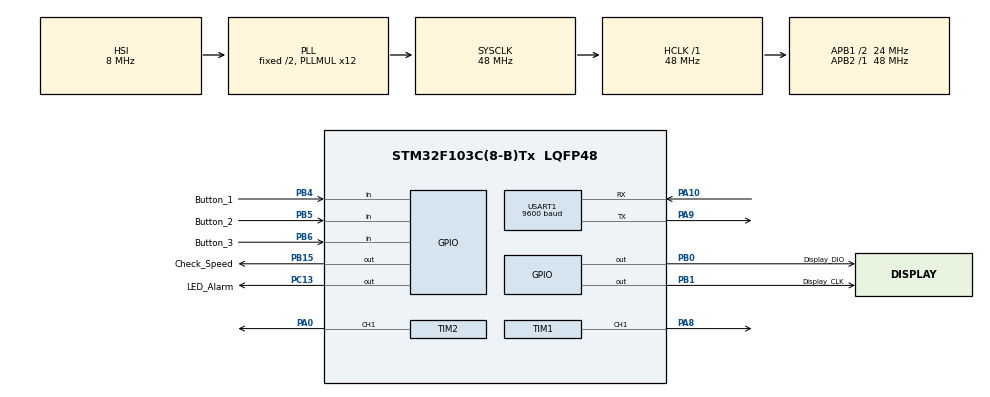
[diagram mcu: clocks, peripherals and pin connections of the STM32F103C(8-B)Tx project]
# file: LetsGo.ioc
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Dma.Request0=TIM1_CH1
Dma.TIM1_CH1.0.Direction=DMA_MEMORY_TO_PERIPH
Dma.TIM1_CH1.0.Instance=DMA1_Channel2
Dma.TIM1_CH1.0.MemDataAlignment=DMA_MDATAALIGN_BYTE
Dma.TIM1_CH1.0.MemInc=DMA_MINC_ENABLE
Dma.TIM1_CH1.0.Mode=DMA_CIRCULAR
Dma.TIM1_CH1.0.PeriphDataAlignment=DMA_PDATAALIGN_WORD
Dma.TIM1_CH1.0.PeriphInc=DMA_PINC_DISABLE
Dma.TIM1_CH1.0.Priority=DMA_PRIORITY_VERY_HIGH
Mcu.Family=STM32F1
Mcu.Name=STM32F103C(8-B)Tx
Mcu.Package=LQFP48
NVIC.DMA1_Channel2_IRQn=true\:0\:0\:false\:false\:true\:false\:true
NVIC.PriorityGroup=NVIC_PRIORITYGROUP_4
NVIC.USART1_IRQn=true\:0\:0\:false\:false\:true\:true\:true
PA0-WKUP.Signal=S_TIM2_CH1_ETR
PA10.Mode=Asynchronous
PA10.Signal=USART1_RX
PA13.Mode=Serial_Wire
PA13.Signal=SYS_JTMS-SWDIO
PA14.Mode=Serial_Wire
PA14.Signal=SYS_JTCK-SWCLK
PA8.Signal=S_TIM1_CH1
PA9.Mode=Asynchronous
PA9.Signal=USART1_TX
PB0.GPIO_Label=Display_DIO
PB0.Signal=GPIO_Output
PB1.GPIO_Label=Display_CLK
PB1.Signal=GPIO_Output
PB15.GPIO_Label=Check_Speed
PB15.Signal=GPIO_Output
PB4.GPIO_Label=Button_1
PB4.Signal=GPIO_Input
PB5.GPIO_Label=Button_2
PB5.Signal=GPIO_Input
PB6.GPIO_Label=Button_3
PB6.Signal=GPIO_Input
PC13-TAMPER-RTC.GPIO_Label=LED_Alarm
PC13-TAMPER-RTC.Signal=GPIO_Output
PC14-OSC32_IN.Mode=LSE-External-Oscillator
PC14-OSC32_IN.Signal=RCC_OSC32_IN
PC15-OSC32_OUT.Mode=LSE-External-Oscillator
PC15-OSC32_OUT.Signal=RCC_OSC32_OUT
ProjectManager.HeapSize=0x200
ProjectManager.StackSize=0x400
ProjectManager.TargetToolchain=STM32CubeIDE
RCC.AHBFreq_Value=48000000
RCC.APB1CLKDivider=RCC_HCLK_DIV2
RCC.APB1Freq_Value=24000000
RCC.APB1TimFreq_Value=48000000
RCC.APB2Freq_Value=48000000
RCC.APB2TimFreq_Value=48000000
RCC.HCLKFreq_Value=48000000
RCC.PLLMUL=RCC_PLL_MUL12
RCC.RTCClockSelection=RCC_RTCCLKSOURCE_LSE
RCC.SYSCLKFreq_VALUE=48000000
RCC.SYSCLKSource=RCC_SYSCLKSOURCE_PLLCLK
RCC.USBFreq_Value=48000000
SH.S_TIM1_CH1.0=TIM1_CH1,PWM Generation1 CH1
SH.S_TIM2_CH1_ETR.0=TIM2_CH1,PWM Generation1 CH1
TIM1.Channel-PWM\ Generation1\ CH1=TIM_CHANNEL_1
TIM1.Period=60-1
TIM2.Channel-PWM\ Generation1\ CH1=TIM_CHANNEL_1
TIM2.Period=6000
TIM2.Pulse-PWM\ Generation1\ CH1=4000
TIM4.Prescaler=71
USART1.BaudRate=9600
USART1.VirtualMode=VM_ASYNC
VP_CRC_VS_CRC.Mode=CRC_Activate
VP_RTC_VS_RTC_Activate.Mode=RTC_Enabled
VP_TIM1_VS_ClockSourceINT.Mode=Internal
VP_TIM4_VS_ClockSourceINT.Mode=Internal
board=custom

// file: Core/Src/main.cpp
/* USER CODE BEGIN Header */
/**
 ******************************************************************************
 * @file           : main.cpp
 * @brief          : Main program body
 ******************************************************************************
 * @attention
 *
 * Copyright (c) 2022 STMicroelectronics.
 * All rights reserved.
 *
 * This software is licensed under terms that can be found in the LICENSE file
 * in the root directory of this software component.
 * If no LICENSE file comes with this software, it is provided AS-IS.
 *
 ******************************************************************************
 */
/* USER CODE END Header */
#include "main.h"

/* USER CODE BEGIN Includes */
#include "TM1637Display.h"
#include "DFPlayer.h"
#include "MexButton.h"
#include "FlashPROM.h"
#include "sk6812.h"
/* USER CODE END Includes */

/* USER CODE BEGIN PD */
#define NUMBER_ALARMS 9
#define USER_INACTIVITY_TIME 10000
#define LAUNCH_TIME 4000
#define BLINK_TIMER 500
/* USER CODE END PD */

/* USER CODE BEGIN PM */
RTC_TimeTypeDef alarms[NUMBER_ALARMS];
uint32_t res_addr;
/* USER CODE END PM */

CRC_HandleTypeDef hcrc;

RTC_HandleTypeDef hrtc;

TIM_HandleTypeDef htim1;
TIM_HandleTypeDef htim2;
TIM_HandleTypeDef htim4;
DMA_HandleTypeDef hdma_tim1_ch1;

UART_HandleTypeDef huart1;

void SystemClock_Config(void);
static void MX_GPIO_Init(void);
static void MX_RTC_Init(void);
static void MX_TIM4_Init(void);
static void MX_USART1_UART_Init(void);
static void MX_TIM2_Init(void);
static void MX_DMA_Init(void);
static void MX_TIM1_Init(void);
static void MX_CRC_Init(void);
/* USER CODE BEGIN PFP */
RTC_TimeTypeDef remainingTime(RTC_TimeTypeDef *a, RTC_TimeTypeDef *b);
enum Mode : uint8_t {
	NORMAL, SET_CLOCK, SET_ALARM, CHOOSING_ALARM
};
/* USER CODE END PFP */

int main(void) {

	/* MCU Configuration--------------------------------------------------------*/

	/* Reset of all peripherals, Initializes the Flash interface and the Systick. */
	HAL_Init();

	/* Configure the system clock */
	SystemClock_Config();

	/* Initialize all configured peripherals */
	MX_GPIO_Init();
	MX_RTC_Init();
	MX_TIM4_Init();
	MX_USART1_UART_Init();
	MX_TIM2_Init();
	MX_DMA_Init();
	MX_TIM1_Init();
	MX_CRC_Init();

	/* Infinite loop */
	/* USER CODE BEGIN WHILE */
	myBuf_t wdata[BUFFSIZE];
	for (uint8_t i = 0; i < BUFFSIZE; i++) {
		wdata[i] = 0;
	}
	res_addr = flash_search_adress(STARTADDR, BUFFSIZE * DATAWIDTH);
	myBuf_t rdata[BUFFSIZE];
	read_last_data_in_flash(rdata);
	for (uint8_t i = 0; i < BUFFSIZE - (BUFFSIZE - NUMBER_ALARMS); i++) {
		alarms[i].Hours = rdata[i] >> 16;
		alarms[i].Minutes = rdata[i] >> 8;
		if (alarms[i].Seconds >= 60) {
			alarms[i].Seconds = 0;
		} else {
			alarms[i].Seconds = rdata[i];
		}
	}
	/*
	 * uint8_t mode = 0;
	 * 1 - setting up an alarm clock
	 * 2 - setting up the clock
	 * 3 - setting an alarm
	 */
	uint32_t setTimer = HAL_GetTick();
	uint32_t scrollTimer = HAL_GetTick();
	uint8_t sets, setsM, setsH, setsDelay, setingAlarm, ready, numberNowAlarm =
			(uint8_t) rdata[BUFFSIZE - 2];
	bool on, blink = 0, plaing = 0, excited = (uint8_t) (rdata[BUFFSIZE - 2]
			>> 16);
	Mode mode = NORMAL;
	//bool alarmed = (uint8_t) (rdata[BUFFSIZE - 2] >> 8);
	bool alarmed = false;
	bool changes = false;
	uint32_t timer = HAL_GetTick();
	RTC_TimeTypeDef nowTime = { 0 };
	RTC_TimeTypeDef nowAlarm = alarms[numberNowAlarm], timeToAlarm;
	/*
	 * setTimer - timer for blinking the display when setting up
	 * scrollTimer - timer for rewinding digits during installation
	 * sets - variable submenu time settings, etc.
	 * setsM, setsH - variables, for setting hours and minutes
	 * setingAlarm - variable for selecting the alarm number
	 * on - flag for blinking the display
	 * excited - flag for turning on the alarm
	 * alarmed - flag, triggered while the alarm is running
	 * timer - timer variable for exiting the settings when the user is idle
	 * nowTime - time structure for getting the time from the RTC and output to the display
	 * nowAlarm - time structure for the alarm clock currently set
	 * timeToAlarm - remaining time until the alarm clock
	 */
	TM1637_Display display(Display_DIO_GPIO_Port,
	Display_DIO_Pin,
	Display_CLK_GPIO_Port, Display_CLK_Pin, &htim4);
	DFPlayer player(&huart1);
	MexButton BT_Plus(Button_3_GPIO_Port, Button_3_Pin);
	MexButton BT_Set(Button_2_GPIO_Port, Button_2_Pin);
	MexButton BT_Minus(Button_1_GPIO_Port, Button_1_Pin);
	BT_Set.setTimeout(1200);
	BT_Plus.setDebouns(60);
	BT_Minus.setDebouns(60);
	BT_Set.setDebouns(60);
	display.clear();
	display.brightness(2);
	player.Volume(0);
	player.status = PAUSE;
	HAL_GPIO_WritePin(LED_Alarm_GPIO_Port, LED_Alarm_Pin, GPIO_PIN_RESET);
	led_set_all_RGB((RGB_t ) { 0, 30, 5 });
	led_render();
	HAL_Delay(400);
	led_set_all_RGB((RGB_t ) { 0, 0, 0 });
	led_render();
	while (true) {

		if (player.Ready()) {
			player.SetStatus();
			if (player.GetNowStatus() == PLAYING) {
				plaing = true;
			}
			if (player.GetNowStatus() == PAUSE) {
				plaing = false;
			}
		}

		if (HAL_GetTick() >= LAUNCH_TIME) {
			BT_Plus.tick();
			BT_Set.tick();
			BT_Minus.tick();
		} else {
			BT_Plus.resetStates();
			BT_Set.resetStates();
			BT_Minus.resetStates();
		}
		if (nowTime.Seconds % 15 >= 14) {
			timeToAlarm = remainingTime(&nowAlarm, &nowTime);
		}

		if (timeToAlarm.Hours == 0 && timeToAlarm.Minutes <= nowAlarm.Seconds
				&& excited) {
			ready = 16
					- ((uint16_t) (timeToAlarm.Minutes * 60 - nowTime.Seconds)
							* 4) / (uint16_t) (nowAlarm.Seconds * 15);
			if (!plaing) {
				player.status = PLAYING;
			} else {
				player.volumeSet = ready + 10;
				player.status = VOLUME;
			}
			for (int i = 0; i < NUM_PIXELS / 2; i++) {
				HSV_t a;
				a.h = i / 5;
				a.s = 15;
				a.v = ready;
				if (i < ready * 2 && ready / 3 != 0) {
					led_set_RGB(i, hsv2rgb(a));
					led_set_RGB(NUM_PIXELS - i - 1, hsv2rgb(a));
				} else {
					led_set_RGB(i, (RGB_t ) { 3, 0, 2 });
					led_set_RGB(NUM_PIXELS - i - 1, (RGB_t ) { 3, 0, 2 });
				}
			}
			led_render();
		}

		HAL_RTC_GetTime(&hrtc, &nowTime, RTC_FORMAT_BIN);
		display.displayClock(nowTime.Hours, nowTime.Minutes);
		if (nowTime.Seconds % 2) {
			display.point(1);
		} else {
			display.point(0);
		}

		if (BT_Set.isHolded()) {
			mode = SET_CLOCK;
			setsM = nowTime.Minutes;
			setsH = nowTime.Hours;
			sets = 0;
			on = true;
			timer = HAL_GetTick();
		}
		if ((BT_Plus.isHolded() || BT_Minus.isHolded()) && !alarmed) {
			mode = SET_ALARM;
			setingAlarm = 1;
			timer = HAL_GetTick();
			setsH = 0;
			setsM = 0;
			setsDelay = 0;
		}
		if (BT_Set.isClick()) {
			mode = CHOOSING_ALARM;
			setingAlarm = 1;
			timer = HAL_GetTick();
		}
		if (excited && nowTime.Hours == nowAlarm.Hours
				&& nowTime.Minutes == nowAlarm.Minutes && !alarmed) {
			alarmed = true;
			excited = false;
			player.status = PAUSE;
			player.volumeSet = 0;
		}
		if (alarmed
				&& (BT_Set.isClick() || BT_Plus.isClick() || BT_Minus.isClick())) {
			alarmed = false;
			excited = false;
			led_set_all_RGB((RGB_t ) { 0, 0, 0 });
			led_render();
			BT_Plus.resetStates();
			BT_Set.resetStates();
			BT_Minus.resetStates();
			changes = true;
		}

		if (alarmed && HAL_GetTick() - timer >= BLINK_TIMER) {
			if (blink) {
				led_set_all_RGB((RGB_t ) { 255, 255, 255 });
				blink = 0;
			} else {
				led_set_all_RGB((RGB_t ) { 0, 0, 0 });
				blink = 1;
			}
			timer = HAL_GetTick();
			led_render();
		}

		if (changes) {
			changes = false;
			for (uint8_t i = 0; i < BUFFSIZE - (BUFFSIZE - NUMBER_ALARMS);
					i++) {
				wdata[i] = (alarms[i].Hours << 16) + (alarms[i].Minutes << 8)
						+ alarms[i].Seconds;
			}
			wdata[BUFFSIZE - 2] = 0;
			if (excited) {
				wdata[BUFFSIZE - 2] += (1 << 16);
			}
			if (alarmed) {
				wdata[BUFFSIZE - 2] += (1 << 8);
			}
			wdata[BUFFSIZE - 2] += numberNowAlarm;
			write_to_flash(wdata);
		}

		while (mode == CHOOSING_ALARM) {
			BT_Plus.tick();
			BT_Set.tick();
			BT_Minus.tick();
			display.point(0);
			display.displayInt(setingAlarm);
			if (BT_Plus.isClick()) {
				timer = HAL_GetTick();
				if (setingAlarm >= NUMBER_ALARMS)
					setingAlarm = 0;
				else
					setingAlarm++;
			}
			if (BT_Minus.isClick()) {
				timer = HAL_GetTick();
				if (setingAlarm <= 0)
					setingAlarm = NUMBER_ALARMS;
				else
					setingAlarm--;
			}
			if (BT_Set.isClick()) {
				if (0 == setingAlarm) {
					excited = false;
					alarmed = false;
					changes = true;
					player.Volume(0);
					player.Pause();
					led_set_all_RGB((RGB_t ) { 0, 0, 0 });
					led_render();
				} else {
					nowAlarm = alarms[setingAlarm - 1];
					numberNowAlarm = setingAlarm - 1;
					excited = true;
					changes = true;
				}
				mode = NORMAL;
				BT_Plus.resetStates();
				BT_Set.resetStates();
				BT_Minus.resetStates();
			}
			if (HAL_GetTick() - timer >= USER_INACTIVITY_TIME) {
				mode = NORMAL;
			}
		}

		while (mode == SET_ALARM) {
			BT_Plus.tick();
			BT_Set.tick();
			BT_Minus.tick();
			if (BT_Plus.isClick()) {
				timer = HAL_GetTick();
				if (setingAlarm >= NUMBER_ALARMS)
					setingAlarm = 1;
				else
					setingAlarm++;
			}
			if (BT_Minus.isClick()) {
				timer = HAL_GetTick();
				if (setingAlarm <= 1)
					setingAlarm = NUMBER_ALARMS;
				else
					setingAlarm--;
			}
			display.point(0);
			display.displayInt(setingAlarm);
			if (BT_Set.isClick()) {
				sets = 0;
				setsH = alarms[setingAlarm - 1].Hours;
				setsM = alarms[setingAlarm - 1].Minutes;
				timer = HAL_GetTick();
				while (true) {
					BT_Plus.tick();
					BT_Set.tick();
					BT_Minus.tick();
					display.point(1);
					if (!on && HAL_GetTick() - setTimer >= 100) {
						on = 1;
						setTimer = HAL_GetTick();
					}
					if (on && HAL_GetTick() - setTimer >= 500) {
						on = 0;
						setTimer = HAL_GetTick();
					}
					if (on) {
						display.display(setsH / 10, setsH % 10, setsM / 10,
								setsM % 10);
					} else {
						if (sets == 0) {
							display.display(10, 10, setsM / 10, setsM % 10);
						}
						if (sets == 1) {
							display.display(setsH / 10, setsH % 10, 10, 10);
						}
					}
					if (sets == 0) {
						if (BT_Plus.isClick()) {
							timer = HAL_GetTick();
							if (setsH >= 23)
								setsH = 0;
							else
								setsH++;
						}
						if (BT_Plus.isHold()
								&& HAL_GetTick() - scrollTimer >= 50) {
							timer = HAL_GetTick();
							scrollTimer = HAL_GetTick();
							if (setsH >= 23)
								setsH = 0;
							else
								setsH++;
						}
						if (BT_Minus.isClick()) {
							timer = HAL_GetTick();
							if (setsH <= 0)
								setsH = 23;
							else
								setsH--;
						}
						if (BT_Minus.isHold()
								&& HAL_GetTick() - scrollTimer >= 50) {
							timer = HAL_GetTick();
							scrollTimer = HAL_GetTick();
							if (setsH <= 0)
								setsH = 23;
							else
								setsH--;
						}
					}
					if (sets == 1) {
						if (BT_Plus.isClick()) {
							timer = HAL_GetTick();
							if (setsM >= 59)
								setsM = 0;
							else
								setsM++;
						}
						if (BT_Plus.isHold()
								&& HAL_GetTick() - scrollTimer >= 100) {
							timer = HAL_GetTick();
							scrollTimer = HAL_GetTick();
							if (setsM >= 59)
								setsM = 0;
							else
								setsM++;
						}
						if (BT_Minus.isClick()) {
							timer = HAL_GetTick();
							if (setsM <= 0)
								setsM = 59;
							else
								setsM--;
						}
						if (BT_Minus.isHold()
								&& HAL_GetTick() - scrollTimer >= 100) {
							timer = HAL_GetTick();
							scrollTimer = HAL_GetTick();
							if (setsM <= 0)
								setsM = 59;
							else
								setsM--;
						}
					}
					if (sets == 2) {
						setsDelay = alarms[setingAlarm - 1].Seconds;
						while (true) {
							BT_Plus.tick();
							BT_Set.tick();
							BT_Minus.tick();
							display.point(0);
							if (BT_Plus.isClick()) {
								timer = HAL_GetTick();
								if (setsDelay >= 59) {
									setsDelay = 0;
								} else {
									setsDelay++;
								}
							}
							if (BT_Plus.isHold()
									&& HAL_GetTick() - scrollTimer >= 50) {
								timer = HAL_GetTick();
								scrollTimer = HAL_GetTick();
								if (setsDelay >= 59) {
									setsDelay = 0;
								} else {
									setsDelay++;
								}
							}
							if (BT_Minus.isClick()) {
								timer = HAL_GetTick();
								if (setsDelay <= 0) {
									setsDelay = 59;
								} else {
									setsDelay--;
								}
							}
							if (BT_Minus.isHold()
									&& HAL_GetTick() - scrollTimer >= 50) {
								timer = HAL_GetTick();
								scrollTimer = HAL_GetTick();
								if (setsDelay <= 0) {
									setsDelay = 59;
								} else {
									setsDelay--;
								}
							}
							if (BT_Set.isClick()) {
								timer = HAL_GetTick();
								if (alarms[setingAlarm - 1].Seconds
										!= setsDelay) {
									alarms[setingAlarm - 1].Seconds = setsDelay;
									changes = true;
								}
								sets++;
								break;
							}
							if (HAL_GetTick() - timer >= USER_INACTIVITY_TIME) {
								break;
							}
							display.displayInt(setsDelay);

						}
					}
					if (BT_Set.isHold() && sets < 2) {
						setsM = nowTime.Minutes;
						setsH = nowTime.Hours;
					}
					if (BT_Set.isClick()) {
						timer = HAL_GetTick();
						sets++;
					}

					if (sets >= 3) {
						if (alarms[setingAlarm - 1].Hours != setsH
								|| alarms[setingAlarm - 1].Minutes != setsM) {
							alarms[setingAlarm - 1].Hours = setsH;
							alarms[setingAlarm - 1].Minutes = setsM;
							if (setingAlarm - 1 == numberNowAlarm) {
								nowAlarm = alarms[setingAlarm - 1];
							}
							changes = true;
						}
						BT_Plus.resetStates();
						BT_Set.resetStates();
						BT_Minus.resetStates();
						mode = NORMAL;
						break;
					}
					if (HAL_GetTick() - timer >= USER_INACTIVITY_TIME) {
						mode = NORMAL;
						break;
					}

				}
			}
		}

		while (mode == SET_CLOCK) {
			BT_Plus.tick();
			BT_Set.tick();
			BT_Minus.tick();
			display.point(1);
			if (!on && HAL_GetTick() - setTimer >= 100) {
				on = 1;
				setTimer = HAL_GetTick();
			}
			if (on && HAL_GetTick() - setTimer >= 500) {
				on = 0;
				setTimer = HAL_GetTick();
			}
			if (on) {
				display.display(setsH / 10, setsH % 10, setsM / 10, setsM % 10);
			} else {
				if (sets == 0) {
					display.display(10, 10, setsM / 10, setsM % 10);
				}
				if (sets == 1) {
					display.display(setsH / 10, setsH % 10, 10, 10);
				}
			}
			if (sets == 0) {
				if (BT_Plus.isClick()) {
					timer = HAL_GetTick();
					if (setsH >= 23)
						setsH = 0;
					else
						setsH++;
				}
				if (BT_Plus.isHold() && HAL_GetTick() - scrollTimer >= 50) {
					timer = HAL_GetTick();
					scrollTimer = HAL_GetTick();
					if (setsH >= 23)
						setsH = 0;
					else
						setsH++;
				}
				if (BT_Minus.isClick()) {
					timer = HAL_GetTick();
					if (setsH <= 0)
						setsH = 23;
					else
						setsH--;
				}
				if (BT_Minus.isHold() && HAL_GetTick() - scrollTimer >= 50) {
					timer = HAL_GetTick();
					scrollTimer = HAL_GetTick();
					if (setsH <= 0)
						setsH = 23;
					else
						setsH--;
				}
			}
			if (sets == 1) {
				if (BT_Plus.isClick()) {
					timer = HAL_GetTick();
					if (setsM >= 59)
						setsM = 0;
					else
						setsM++;
				}
				if (BT_Plus.isHold() && HAL_GetTick() - scrollTimer >= 100) {
					timer = HAL_GetTick();
					scrollTimer = HAL_GetTick();
					if (setsM >= 59)
						setsM = 0;
					else
						setsM++;
				}
				if (BT_Minus.isClick()) {
					timer = HAL_GetTick();
					if (setsM <= 0)
						setsM = 59;
					else
						setsM--;
				}
				if (BT_Minus.isHold() && HAL_GetTick() - scrollTimer >= 100) {
					timer = HAL_GetTick();
					scrollTimer = HAL_GetTick();
					if (setsM <= 0)
						setsM = 59;
					else
						setsM--;
				}
			}
			if (BT_Set.isClick()) {
				timer = HAL_GetTick();
				sets++;
			}
			if (sets >= 2) {
				RTC_TimeTypeDef setingTime = { 0 };
				setingTime.Hours = setsH;
				setingTime.Minutes = setsM;
				setingTime.Seconds = 0;
				HAL_RTC_SetTime(&hrtc, &setingTime, RTC_FORMAT_BIN);
				BT_Plus.resetStates();
				BT_Set.resetStates();
				BT_Minus.resetStates();
				mode = NORMAL;
			}
			if (HAL_GetTick() - timer >= USER_INACTIVITY_TIME) {
				mode = NORMAL;
				break;
			}
		}

		/* USER CODE END WHILE */

	}
}

void SystemClock_Config(void) {
	RCC_OscInitTypeDef RCC_OscInitStruct = { 0 };
	RCC_ClkInitTypeDef RCC_ClkInitStruct = { 0 };
	RCC_PeriphCLKInitTypeDef PeriphClkInit = { 0 };

	/** Initializes the RCC Oscillators according to the specified parameters
	 * in the RCC_OscInitTypeDef structure.
	 */
	RCC_OscInitStruct.OscillatorType = RCC_OSCILLATORTYPE_HSI
			| RCC_OSCILLATORTYPE_LSE;
	RCC_OscInitStruct.LSEState = RCC_LSE_ON;
	RCC_OscInitStruct.HSIState = RCC_HSI_ON;
	RCC_OscInitStruct.HSICalibrationValue = RCC_HSICALIBRATION_DEFAULT;
	RCC_OscInitStruct.PLL.PLLState = RCC_PLL_ON;
	RCC_OscInitStruct.PLL.PLLSource = RCC_PLLSOURCE_HSI_DIV2;
	RCC_OscInitStruct.PLL.PLLMUL = RCC_PLL_MUL12;
	if (HAL_RCC_OscConfig(&RCC_OscInitStruct) != HAL_OK) {
		Error_Handler();
	}
	/** Initializes the CPU, AHB and APB buses clocks
	 */
	RCC_ClkInitStruct.ClockType = RCC_CLOCKTYPE_HCLK | RCC_CLOCKTYPE_SYSCLK
			| RCC_CLOCKTYPE_PCLK1 | RCC_CLOCKTYPE_PCLK2;
	RCC_ClkInitStruct.SYSCLKSource = RCC_SYSCLKSOURCE_PLLCLK;
	RCC_ClkInitStruct.AHBCLKDivider = RCC_SYSCLK_DIV1;
	RCC_ClkInitStruct.APB1CLKDivider = RCC_HCLK_DIV2;
	RCC_ClkInitStruct.APB2CLKDivider = RCC_HCLK_DIV1;

	if (HAL_RCC_ClockConfig(&RCC_ClkInitStruct, FLASH_LATENCY_1) != HAL_OK) {
		Error_Handler();
	}
	PeriphClkInit.PeriphClockSelection = RCC_PERIPHCLK_RTC;
	PeriphClkInit.RTCClockSelection = RCC_RTCCLKSOURCE_LSE;
	if (HAL_RCCEx_PeriphCLKConfig(&PeriphClkInit) != HAL_OK) {
		Error_Handler();
	}
}

static void MX_CRC_Init(void) {

	hcrc.Instance = CRC;
	if (HAL_CRC_Init(&hcrc) != HAL_OK) {
		Error_Handler();
	}

}

static void MX_RTC_Init(void) {

	/** Initialize RTC Only
	 */
	hrtc.Instance = RTC;
	hrtc.Init.AsynchPrediv = RTC_AUTO_1_SECOND;
	hrtc.Init.OutPut = RTC_OUTPUTSOURCE_ALARM;
	if (HAL_RTC_Init(&hrtc) != HAL_OK) {
		Error_Handler();
	}

}

static void MX_TIM1_Init(void) {

	TIM_ClockConfigTypeDef sClockSourceConfig = { 0 };
	TIM_MasterConfigTypeDef sMasterConfig = { 0 };
	TIM_OC_InitTypeDef sConfigOC = { 0 };
	TIM_BreakDeadTimeConfigTypeDef sBreakDeadTimeConfig = { 0 };

	htim1.Instance = TIM1;
	htim1.Init.Prescaler = 0;
	htim1.Init.CounterMode = TIM_COUNTERMODE_UP;
	htim1.Init.Period = 60 - 1;
	htim1.Init.ClockDivision = TIM_CLOCKDIVISION_DIV1;
	htim1.Init.RepetitionCounter = 0;
	htim1.Init.AutoReloadPreload = TIM_AUTORELOAD_PRELOAD_DISABLE;
	if (HAL_TIM_Base_Init(&htim1) != HAL_OK) {
		Error_Handler();
	}
	sClockSourceConfig.ClockSource = TIM_CLOCKSOURCE_INTERNAL;
	if (HAL_TIM_ConfigClockSource(&htim1, &sClockSourceConfig) != HAL_OK) {
		Error_Handler();
	}
	if (HAL_TIM_PWM_Init(&htim1) != HAL_OK) {
		Error_Handler();
	}
	sMasterConfig.MasterOutputTrigger = TIM_TRGO_RESET;
	sMasterConfig.MasterSlaveMode = TIM_MASTERSLAVEMODE_DISABLE;
	if (HAL_TIMEx_MasterConfigSynchronization(&htim1, &sMasterConfig)
			!= HAL_OK) {
		Error_Handler();
	}
	sConfigOC.OCMode = TIM_OCMODE_PWM1;
	sConfigOC.Pulse = 0;
	sConfigOC.OCPolarity = TIM_OCPOLARITY_HIGH;
	sConfigOC.OCNPolarity = TIM_OCNPOLARITY_HIGH;
	sConfigOC.OCFastMode = TIM_OCFAST_DISABLE;
	sConfigOC.OCIdleState = TIM_OCIDLESTATE_RESET;
	sConfigOC.OCNIdleState = TIM_OCNIDLESTATE_RESET;
	if (HAL_TIM_PWM_ConfigChannel(&htim1, &sConfigOC, TIM_CHANNEL_1)
			!= HAL_OK) {
		Error_Handler();
	}
	sBreakDeadTimeConfig.OffStateRunMode = TIM_OSSR_DISABLE;
	sBreakDeadTimeConfig.OffStateIDLEMode = TIM_OSSI_DISABLE;
	sBreakDeadTimeConfig.LockLevel = TIM_LOCKLEVEL_OFF;
	sBreakDeadTimeConfig.DeadTime = 0;
	sBreakDeadTimeConfig.BreakState = TIM_BREAK_DISABLE;
	sBreakDeadTimeConfig.BreakPolarity = TIM_BREAKPOLARITY_HIGH;
	sBreakDeadTimeConfig.AutomaticOutput = TIM_AUTOMATICOUTPUT_DISABLE;
	if (HAL_TIMEx_ConfigBreakDeadTime(&htim1, &sBreakDeadTimeConfig)
			!= HAL_OK) {
		Error_Handler();
	}
	HAL_TIM_MspPostInit(&htim1);

}

static void MX_TIM2_Init(void) {

	TIM_MasterConfigTypeDef sMasterConfig = { 0 };
	TIM_OC_InitTypeDef sConfigOC = { 0 };

	htim2.Instance = TIM2;
	htim2.Init.Prescaler = 0;
	htim2.Init.CounterMode = TIM_COUNTERMODE_UP;
	htim2.Init.Period = 6000;
	htim2.Init.ClockDivision = TIM_CLOCKDIVISION_DIV1;
	htim2.Init.AutoReloadPreload = TIM_AUTORELOAD_PRELOAD_DISABLE;
	if (HAL_TIM_PWM_Init(&htim2) != HAL_OK) {
		Error_Handler();
	}
	sMasterConfig.MasterOutputTrigger = TIM_TRGO_RESET;
	sMasterConfig.MasterSlaveMode = TIM_MASTERSLAVEMODE_DISABLE;
	if (HAL_TIMEx_MasterConfigSynchronization(&htim2, &sMasterConfig)
			!= HAL_OK) {
		Error_Handler();
	}
	sConfigOC.OCMode = TIM_OCMODE_PWM1;
	sConfigOC.Pulse = 4000;
	sConfigOC.OCPolarity = TIM_OCPOLARITY_HIGH;
	sConfigOC.OCFastMode = TIM_OCFAST_DISABLE;
	if (HAL_TIM_PWM_ConfigChannel(&htim2, &sConfigOC, TIM_CHANNEL_1)
			!= HAL_OK) {
		Error_Handler();
	}
	HAL_TIM_MspPostInit(&htim2);

}

static void MX_TIM4_Init(void) {

	TIM_ClockConfigTypeDef sClockSourceConfig = { 0 };
	TIM_MasterConfigTypeDef sMasterConfig = { 0 };

	htim4.Instance = TIM4;
	htim4.Init.Prescaler = 71;
	htim4.Init.CounterMode = TIM_COUNTERMODE_UP;
	htim4.Init.Period = 65535;
	htim4.Init.ClockDivision = TIM_CLOCKDIVISION_DIV1;
	htim4.Init.AutoReloadPreload = TIM_AUTORELOAD_PRELOAD_DISABLE;
	if (HAL_TIM_Base_Init(&htim4) != HAL_OK) {
		Error_Handler();
	}
	sClockSourceConfig.ClockSource = TIM_CLOCKSOURCE_INTERNAL;
	if (HAL_TIM_ConfigClockSource(&htim4, &sClockSourceConfig) != HAL_OK) {
		Error_Handler();
	}
	sMasterConfig.MasterOutputTrigger = TIM_TRGO_RESET;
	sMasterConfig.MasterSlaveMode = TIM_MASTERSLAVEMODE_DISABLE;
	if (HAL_TIMEx_MasterConfigSynchronization(&htim4, &sMasterConfig)
			!= HAL_OK) {
		Error_Handler();
	}

}

static void MX_USART1_UART_Init(void) {

	huart1.Instance = USART1;
	huart1.Init.BaudRate = 9600;
	huart1.Init.WordLength = UART_WORDLENGTH_8B;
	huart1.Init.StopBits = UART_STOPBITS_1;
	huart1.Init.Parity = UART_PARITY_NONE;
	huart1.Init.Mode = UART_MODE_TX_RX;
	huart1.Init.HwFlowCtl = UART_HWCONTROL_NONE;
	huart1.Init.OverSampling = UART_OVERSAMPLING_16;
	if (HAL_UART_Init(&huart1) != HAL_OK) {
		Error_Handler();
	}

}

static void MX_DMA_Init(void) {

	/* DMA controller clock enable */
	__HAL_RCC_DMA1_CLK_ENABLE();

	/* DMA interrupt init */
	/* DMA1_Channel2_IRQn interrupt configuration */
	HAL_NVIC_SetPriority(DMA1_Channel2_IRQn, 0, 0);
	HAL_NVIC_EnableIRQ(DMA1_Channel2_IRQn);

}

static void MX_GPIO_Init(void) {
	GPIO_InitTypeDef GPIO_InitStruct = { 0 };

	/* GPIO Ports Clock Enable */
	__HAL_RCC_GPIOC_CLK_ENABLE();
	__HAL_RCC_GPIOA_CLK_ENABLE();
	__HAL_RCC_GPIOB_CLK_ENABLE();

	/*Configure GPIO pin Output Level */
	HAL_GPIO_WritePin(LED_Alarm_GPIO_Port, LED_Alarm_Pin, GPIO_PIN_RESET);

	/*Configure GPIO pin Output Level */
	HAL_GPIO_WritePin(GPIOB,
	Display_DIO_Pin | Display_CLK_Pin | Check_Speed_Pin, GPIO_PIN_RESET);

	/*Configure GPIO pin : LED_Alarm_Pin */
	GPIO_InitStruct.Pin = LED_Alarm_Pin;
	GPIO_InitStruct.Mode = GPIO_MODE_OUTPUT_PP;
	GPIO_InitStruct.Pull = GPIO_NOPULL;
	GPIO_InitStruct.Speed = GPIO_SPEED_FREQ_LOW;
	HAL_GPIO_Init(LED_Alarm_GPIO_Port, &GPIO_InitStruct);

	/*Configure GPIO pins : Display_DIO_Pin Display_CLK_Pin Check_Speed_Pin */
	GPIO_InitStruct.Pin = Display_DIO_Pin | Display_CLK_Pin | Check_Speed_Pin;
	GPIO_InitStruct.Mode = GPIO_MODE_OUTPUT_PP;
	GPIO_InitStruct.Pull = GPIO_NOPULL;
	GPIO_InitStruct.Speed = GPIO_SPEED_FREQ_LOW;
	HAL_GPIO_Init(GPIOB, &GPIO_InitStruct);

	/*Configure GPIO pins : Button_1_Pin Button_2_Pin Button_3_Pin */
	GPIO_InitStruct.Pin = Button_1_Pin | Button_2_Pin | Button_3_Pin;
	GPIO_InitStruct.Mode = GPIO_MODE_INPUT;
	GPIO_InitStruct.Pull = GPIO_NOPULL;
	HAL_GPIO_Init(GPIOB, &GPIO_InitStruct);

}

/* USER CODE BEGIN 4 */
RTC_TimeTypeDef remainingTime(RTC_TimeTypeDef *a, RTC_TimeTypeDef *b) {
	RTC_TimeTypeDef out;
	uint16_t seconds;
	seconds = (a->Hours * 60 + a->Minutes) - (b->Hours * 60 + b->Minutes);
	out.Hours = seconds / 60;
	out.Minutes = seconds % 60;
	out.Seconds = 0;
	return out;
}
/* USER CODE END 4 */

void Error_Handler(void) {
	__disable_irq();
	while (1) {
	}
}
